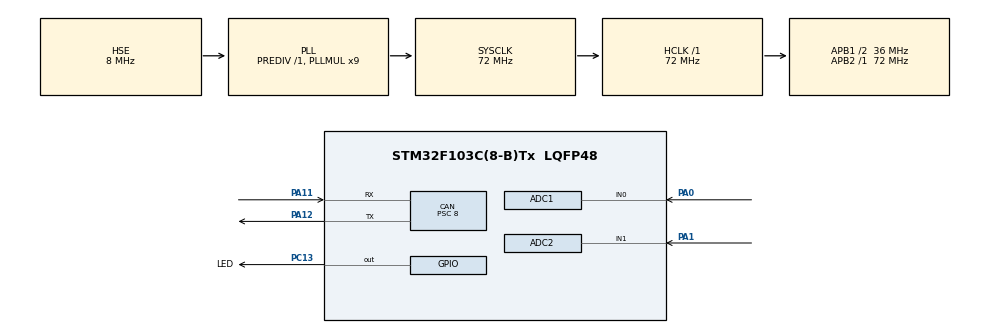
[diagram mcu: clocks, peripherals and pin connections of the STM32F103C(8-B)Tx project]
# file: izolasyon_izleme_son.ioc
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ADC1.Channel-0\#ChannelRegularConversion=ADC_CHANNEL_0
ADC1.ContinuousConvMode=ENABLE
ADC1.NbrOfConversionFlag=1
ADC1.Rank-0\#ChannelRegularConversion=1
ADC1.SamplingTime-0\#ChannelRegularConversion=ADC_SAMPLETIME_55CYCLES_5
ADC1.master=1
ADC2.Channel-0\#ChannelRegularConversion=ADC_CHANNEL_1
ADC2.ContinuousConvMode=ENABLE
ADC2.NbrOfConversionFlag=1
ADC2.Rank-0\#ChannelRegularConversion=1
ADC2.SamplingTime-0\#ChannelRegularConversion=ADC_SAMPLETIME_13CYCLES_5
CAN.BS1=CAN_BS1_4TQ
CAN.BS2=CAN_BS2_4TQ
CAN.CalculateBaudRate=500000
CAN.CalculateTimeBit=2000
CAN.CalculateTimeQuantum=222.22222222222223
CAN.Prescaler=8
Mcu.Family=STM32F1
Mcu.Name=STM32F103C(8-B)Tx
Mcu.Package=LQFP48
NVIC.PriorityGroup=NVIC_PRIORITYGROUP_4
PA0-WKUP.Signal=ADCx_IN0
PA1.Signal=ADCx_IN1
PA11.Mode=CAN_Activate
PA11.Signal=CAN_RX
PA12.Mode=CAN_Activate
PA12.Signal=CAN_TX
PC13-TAMPER-RTC.GPIO_Label=LED
PC13-TAMPER-RTC.Signal=GPIO_Output
PD0-OSC_IN.Mode=HSE-External-Oscillator
PD0-OSC_IN.Signal=RCC_OSC_IN
PD1-OSC_OUT.Mode=HSE-External-Oscillator
PD1-OSC_OUT.Signal=RCC_OSC_OUT
ProjectManager.HeapSize=0x200
ProjectManager.StackSize=0x400
ProjectManager.TargetToolchain=STM32CubeIDE
RCC.ADCPresc=RCC_ADCPCLK2_DIV6
RCC.AHBFreq_Value=72000000
RCC.APB1CLKDivider=RCC_HCLK_DIV2
RCC.APB1Freq_Value=36000000
RCC.APB1TimFreq_Value=72000000
RCC.APB2Freq_Value=72000000
RCC.APB2TimFreq_Value=72000000
RCC.DATA_CACHE_ENABLE=1
RCC.HCLKFreq_Value=72000000
RCC.INSTRUCTION_CACHE_ENABLE=1
RCC.PLLMUL=RCC_PLL_MUL9
RCC.PLLSourceVirtual=RCC_PLLSOURCE_HSE
RCC.PWR_Regulator_Voltage_Scale=PWR_REGULATOR_VOLTAGE_SCALE1
RCC.SYSCLKFreq_VALUE=72000000
RCC.SYSCLKSource=RCC_SYSCLKSOURCE_PLLCLK
RCC.USBFreq_Value=72000000
SH.ADCx_IN0.0=ADC1_IN0,IN0
SH.ADCx_IN1.0=ADC2_IN1,IN1
VP_SYS_VS_ND.Mode=No_Debug
board=custom

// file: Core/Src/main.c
/* USER CODE BEGIN Header */
/**
  ******************************************************************************
  * @file           : main.c
  * @brief          : Main program body
  ******************************************************************************
  * @attention
  *
  * Copyright (c) 2024 STMicroelectronics.
  * All rights reserved.
  *
  * This software is licensed under terms that can be found in the LICENSE file
  * in the root directory of this software component.
  * If no LICENSE file comes with this software, it is provided AS-IS.
  *
  ******************************************************************************
  */
/* USER CODE END Header */
#include "main.h"

/* USER CODE BEGIN Includes */
#define ALPHA 0.85
#include <math.h>
#include <stdio.h>
/* USER CODE END Includes */

ADC_HandleTypeDef hadc1;
ADC_HandleTypeDef hadc2;

CAN_HandleTypeDef hcan;

/* USER CODE BEGIN PV */

double R1 = 1000000; // 1MΩ
double R2 = 39000;   // 39kΩ
double R7 = 1000000; // 1MΩ
double R8 = 39000;   // 39kΩ

uint16_t adc_sase;
uint16_t adc_sase_filtr;
float sase_gerilim;

uint16_t adc_bat;
uint16_t adc_bat_filtr;
float bat_gerilim;

float Vb = 0;
float Vout = 0;
float izolasyon_res = 0;
float eklenen_res = 0;

uint32_t TxMailbox;
float sendData[2];

/* USER CODE END PV */

void SystemClock_Config(void);
static void MX_GPIO_Init(void);
static void MX_ADC1_Init(void);
static void MX_ADC2_Init(void);
static void MX_CAN_Init(void);
/* USER CODE BEGIN PFP */
float complementary_filter(float new_value, float filtered_value) {
    filtered_value = ALPHA * filtered_value + (1.0 - ALPHA) * new_value;
    return filtered_value;
}
/* USER CODE END PFP */

/* USER CODE BEGIN 0 */
CAN_TxHeaderTypeDef TxHeader;
/* USER CODE END 0 */

int main(void)
{

  /* MCU Configuration--------------------------------------------------------*/

  /* Reset of all peripherals, Initializes the Flash interface and the Systick. */
  HAL_Init();

  /* Configure the system clock */
  SystemClock_Config();

  /* Initialize all configured peripherals */
  MX_GPIO_Init();
  MX_ADC1_Init();
  MX_ADC2_Init();
  MX_CAN_Init();
  /* USER CODE BEGIN 2 */
  HAL_CAN_Start(&hcan);
  TxHeader.DLC = 8;
  TxHeader.IDE = CAN_ID_EXT;
  TxHeader.RTR = CAN_RTR_DATA;
  /* USER CODE END 2 */

  /* Infinite loop */
  while (1)
  {

    /* USER CODE BEGIN 3 */

	  // Sase ADC okuması ve gerilim hesabı
	  HAL_GPIO_TogglePin(LED_GPIO_Port, LED_Pin);
	  HAL_ADC_Start(&hadc1);

	  HAL_ADC_PollForConversion(&hadc1, HAL_MAX_DELAY);
	  adc_sase = HAL_ADC_GetValue(&hadc1);
	  HAL_ADC_Stop(&hadc1);

	  adc_sase_filtr = complementary_filter(adc_sase, adc_sase_filtr);
	  sase_gerilim = adc_sase_filtr*3.3/4095;

	  HAL_Delay(20);

	  // Batarya ADC okuması ve gerilim hesabı
	  HAL_ADC_Start(&hadc2);
	  HAL_ADC_PollForConversion(&hadc2, HAL_MAX_DELAY);
	  adc_bat = HAL_ADC_GetValue(&hadc2);
	  HAL_ADC_Stop(&hadc2);

	  adc_bat_filtr = complementary_filter(adc_bat, adc_bat_filtr);
	  bat_gerilim = adc_bat_filtr*3.3/4095;

	  // Gerçek batarya gerilimi ve şase gerilimini hesaplama
	   Vb =( bat_gerilim * (R1 + R2) / R2)*1.103;
	   Vout = (sase_gerilim * (1039000.0) / R8)*1.05;

	  // İzolasyon direncini hesaplama
	   izolasyon_res = ((Vb - (2 * Vout)) * 1000000.0 / Vout);

	  // Eklenen direnci hesaplama
	  if (izolasyon_res >= 950000.0 && izolasyon_res <= 1300000.0) {
	      eklenen_res = 0;
	  } else {
	      float payda = fabsf(1000000.0 - izolasyon_res);
	      eklenen_res = (1000000.0 * izolasyon_res) / payda;
	  }

	  TxHeader.ExtId = 0x0FFFFFF6;
	  sendData[0] = izolasyon_res;
	  sendData[1]  = eklenen_res;
	  HAL_CAN_AddTxMessage(&hcan, &TxHeader, sendData, &TxMailbox);
	  HAL_Delay(10);

  }
  /* USER CODE END 3 */
}

void SystemClock_Config(void)
{
  RCC_OscInitTypeDef RCC_OscInitStruct = {0};
  RCC_ClkInitTypeDef RCC_ClkInitStruct = {0};
  RCC_PeriphCLKInitTypeDef PeriphClkInit = {0};

  /** Initializes the RCC Oscillators according to the specified parameters
  * in the RCC_OscInitTypeDef structure.
  */
  RCC_OscInitStruct.OscillatorType = RCC_OSCILLATORTYPE_HSE;
  RCC_OscInitStruct.HSEState = RCC_HSE_ON;
  RCC_OscInitStruct.HSEPredivValue = RCC_HSE_PREDIV_DIV1;
  RCC_OscInitStruct.HSIState = RCC_HSI_ON;
  RCC_OscInitStruct.PLL.PLLState = RCC_PLL_ON;
  RCC_OscInitStruct.PLL.PLLSource = RCC_PLLSOURCE_HSE;
  RCC_OscInitStruct.PLL.PLLMUL = RCC_PLL_MUL9;
  if (HAL_RCC_OscConfig(&RCC_OscInitStruct) != HAL_OK)
  {
    Error_Handler();
  }

  /** Initializes the CPU, AHB and APB buses clocks
  */
  RCC_ClkInitStruct.ClockType = RCC_CLOCKTYPE_HCLK|RCC_CLOCKTYPE_SYSCLK
                              |RCC_CLOCKTYPE_PCLK1|RCC_CLOCKTYPE_PCLK2;
  RCC_ClkInitStruct.SYSCLKSource = RCC_SYSCLKSOURCE_PLLCLK;
  RCC_ClkInitStruct.AHBCLKDivider = RCC_SYSCLK_DIV1;
  RCC_ClkInitStruct.APB1CLKDivider = RCC_HCLK_DIV2;
  RCC_ClkInitStruct.APB2CLKDivider = RCC_HCLK_DIV1;

  if (HAL_RCC_ClockConfig(&RCC_ClkInitStruct, FLASH_LATENCY_2) != HAL_OK)
  {
    Error_Handler();
  }
  PeriphClkInit.PeriphClockSelection = RCC_PERIPHCLK_ADC;
  PeriphClkInit.AdcClockSelection = RCC_ADCPCLK2_DIV6;
  if (HAL_RCCEx_PeriphCLKConfig(&PeriphClkInit) != HAL_OK)
  {
    Error_Handler();
  }
}

static void MX_ADC1_Init(void)
{

  ADC_ChannelConfTypeDef sConfig = {0};

  /** Common config
  */
  hadc1.Instance = ADC1;
  hadc1.Init.ScanConvMode = ADC_SCAN_DISABLE;
  hadc1.Init.ContinuousConvMode = ENABLE;
  hadc1.Init.DiscontinuousConvMode = DISABLE;
  hadc1.Init.ExternalTrigConv = ADC_SOFTWARE_START;
  hadc1.Init.DataAlign = ADC_DATAALIGN_RIGHT;
  hadc1.Init.NbrOfConversion = 1;
  if (HAL_ADC_Init(&hadc1) != HAL_OK)
  {
    Error_Handler();
  }

  /** Configure Regular Channel
  */
  sConfig.Channel = ADC_CHANNEL_0;
  sConfig.Rank = ADC_REGULAR_RANK_1;
  sConfig.SamplingTime = ADC_SAMPLETIME_55CYCLES_5;
  if (HAL_ADC_ConfigChannel(&hadc1, &sConfig) != HAL_OK)
  {
    Error_Handler();
  }

}

static void MX_ADC2_Init(void)
{

  ADC_ChannelConfTypeDef sConfig = {0};

  /** Common config
  */
  hadc2.Instance = ADC2;
  hadc2.Init.ScanConvMode = ADC_SCAN_DISABLE;
  hadc2.Init.ContinuousConvMode = ENABLE;
  hadc2.Init.DiscontinuousConvMode = DISABLE;
  hadc2.Init.ExternalTrigConv = ADC_SOFTWARE_START;
  hadc2.Init.DataAlign = ADC_DATAALIGN_RIGHT;
  hadc2.Init.NbrOfConversion = 1;
  if (HAL_ADC_Init(&hadc2) != HAL_OK)
  {
    Error_Handler();
  }

  /** Configure Regular Channel
  */
  sConfig.Channel = ADC_CHANNEL_1;
  sConfig.Rank = ADC_REGULAR_RANK_1;
  sConfig.SamplingTime = ADC_SAMPLETIME_13CYCLES_5;
  if (HAL_ADC_ConfigChannel(&hadc2, &sConfig) != HAL_OK)
  {
    Error_Handler();
  }

}

static void MX_CAN_Init(void)
{

  hcan.Instance = CAN1;
  hcan.Init.Prescaler = 8;
  hcan.Init.Mode = CAN_MODE_NORMAL;
  hcan.Init.SyncJumpWidth = CAN_SJW_1TQ;
  hcan.Init.TimeSeg1 = CAN_BS1_4TQ;
  hcan.Init.TimeSeg2 = CAN_BS2_4TQ;
  hcan.Init.TimeTriggeredMode = DISABLE;
  hcan.Init.AutoBusOff = DISABLE;
  hcan.Init.AutoWakeUp = DISABLE;
  hcan.Init.AutoRetransmission = DISABLE;
  hcan.Init.ReceiveFifoLocked = DISABLE;
  hcan.Init.TransmitFifoPriority = DISABLE;
  if (HAL_CAN_Init(&hcan) != HAL_OK)
  {
    Error_Handler();
  }
  /* USER CODE BEGIN CAN_Init 2 */
  CAN_FilterTypeDef canfilterconfig;

  canfilterconfig.FilterActivation = CAN_FILTER_ENABLE;
  canfilterconfig.FilterBank = 10;  // which filter bank to use from the assigned ones
  canfilterconfig.FilterFIFOAssignment = CAN_FILTER_FIFO0;
  canfilterconfig.FilterIdHigh = 0x000<<5;
  canfilterconfig.FilterIdLow = 0;
  canfilterconfig.FilterMaskIdHigh = 0x000<<5;
  canfilterconfig.FilterMaskIdLow = 0x0000;
  canfilterconfig.FilterMode = CAN_FILTERMODE_IDMASK;
  canfilterconfig.FilterScale = CAN_FILTERSCALE_32BIT;
  canfilterconfig.SlaveStartFilterBank = 13;  // how many filters to assign to the CAN1 (master can)

  HAL_CAN_ConfigFilter(&hcan, &canfilterconfig);
  /* USER CODE END CAN_Init 2 */

}

static void MX_GPIO_Init(void)
{
  GPIO_InitTypeDef GPIO_InitStruct = {0};

  /* GPIO Ports Clock Enable */
  __HAL_RCC_GPIOC_CLK_ENABLE();
  __HAL_RCC_GPIOD_CLK_ENABLE();
  __HAL_RCC_GPIOA_CLK_ENABLE();

  /*Configure GPIO pin Output Level */
  HAL_GPIO_WritePin(LED_GPIO_Port, LED_Pin, GPIO_PIN_RESET);

  /*Configure GPIO pin : LED_Pin */
  GPIO_InitStruct.Pin = LED_Pin;
  GPIO_InitStruct.Mode = GPIO_MODE_OUTPUT_PP;
  GPIO_InitStruct.Pull = GPIO_NOPULL;
  GPIO_InitStruct.Speed = GPIO_SPEED_FREQ_LOW;
  HAL_GPIO_Init(LED_GPIO_Port, &GPIO_InitStruct);

}

void Error_Handler(void)
{
  __disable_irq();
  while (1)
  {
  }
}
